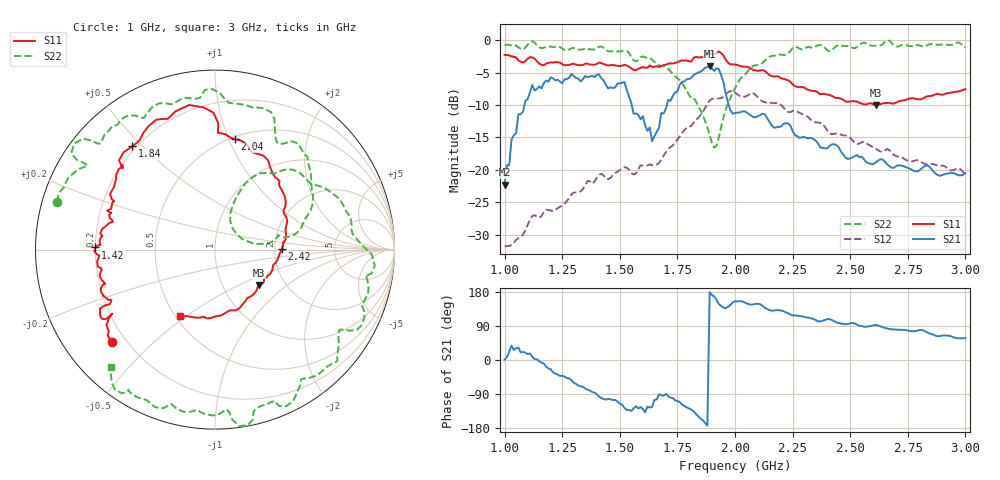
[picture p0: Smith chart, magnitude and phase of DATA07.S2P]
! Network Analyzer HP8722ES.07.74: Oct 30, 2002 Serial No. US39175660
! Hewlett-Packard
! 30 May 2012  20:36:14
! Frequency  S11  S21  S12  S22
# HZ  S  DB R  50
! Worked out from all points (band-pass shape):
!   201 points, 1 GHz to 3 GHz, reference 50 ohm
!   highest |S21| = -3.98 dB at 1.89 GHz (marker M1); lowest = -22.3 dB at 1 GHz (marker M2)
!   |S21| within 3 dB of the highest: 1.166 GHz to 1.441 GHz (275.2 MHz wide, 21.1 % of centre); 1.759 GHz to 1.953 GHz (193.6 MHz wide, 10.4 % of centre)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
!   lowest |S11| = -10.0 dB at 2.61 GHz (marker M3), VSWR 1.92, Z = 74.3 - j32.4 ohm
!   |S11| at or under -10 dB: 2.608521 GHz to 2.621227 GHz (12.71 MHz wide, 0.486 % of centre)
!   |S22| runs from -16.6 to 0.0 dB; largest |S21 - S12| = 0.82
!   S11 on the Smith chart (normalised r, x): 1 GHz: 0.15, -0.37; 1.42 GHz: 0.20, +0.01; 1.84 GHz: 0.19, +0.47; 2.04 GHz: 0.52, +1.05; 2.42 GHz: 2.18, +0.01; 3 GHz: 0.53, -0.47
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1e9  -2.26 -138.2  -22.32 0.9  -31.79 27.6  -0.73 163.2
1.06e9  -3.10 -147.3  -11.42 32.6  -30.58 30.9  -1.08 149.6
1.12e9  -2.64 -150.1  -6.92 8.7  -27.13 30.4  -0.15 143.0
1.2e9  -3.42 -157.6  -5.74 -24.5  -26.27 16.2  -0.95 129.9
1.34e9  -3.84 -170.7  -6.01 -70.7  -22.97 3.3  -1.40 104.5
1.42e9  -3.53 179.0  -5.90 -100.3  -20.62 -12.7  -0.96 90.9
1.52e9  -3.81 171.9  -6.44 -126.6  -19.61 -25.5  -1.58 71.1
1.64e9  -4.13 158.5  -15.59 -124.2  -19.31 -38.8  -3.01 42.5
1.67e9  -4.11 154.4  -13.52 -90.5  -18.97 -35.7  -3.85 33.0
1.76e9  -3.23 142.9  -6.89 -110.9  -14.82 -44.0  -6.15 13.9
1.84e9  -2.65 128.6  -5.00 -148.3  -12.01 -60.4  -10.10 7.3
1.89e9  -2.00 114.3  -3.98 178.7  -9.32 -76.0  -14.59 14.5
1.93e9  -1.74 100.1  -4.46 147.6  -8.99 -96.6  -14.99 61.3
2e9  -3.76 86.9  -11.24 155.2  -8.10 -123.0  -7.41 64.3
2.04e9  -4.08 80.0  -10.97 152.3  -8.73 -139.9  -5.42 52.1
2.13e9  -4.75 59.2  -11.46 137.8  -9.57 -167.4  -3.13 29.9
2.26e9  -7.09 30.1  -14.64 117.9  -10.86 157.9  -0.97 -5.7
2.34e9  -7.82 14.1  -15.26 108.6  -12.63 140.2  -1.18 -20.7
2.42e9  -8.59 0.2  -16.09 105.7  -14.50 129.2  -1.56 -34.6
2.61e9  -10.02 -38.5  -18.89 92.5  -16.72 101.8  -0.84 -71.1
2.67e9  -9.66 -52.2  -19.44 81.9  -16.94 94.8  -0.07 -82.2
3e9  -7.57 -117.6  -20.53 57.5  -20.76 58.4  -1.14 -131.6
